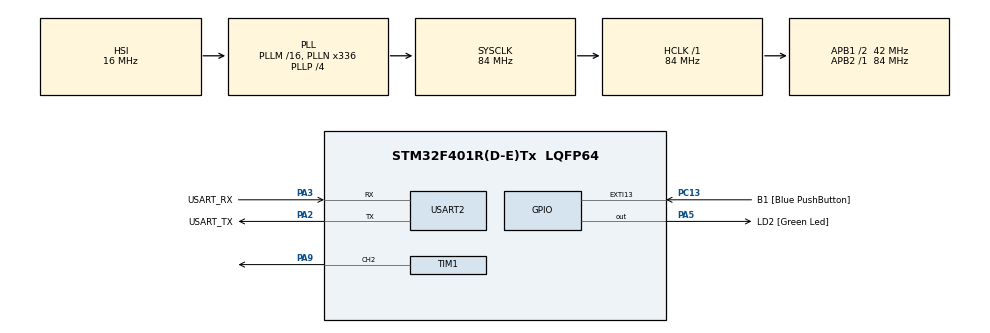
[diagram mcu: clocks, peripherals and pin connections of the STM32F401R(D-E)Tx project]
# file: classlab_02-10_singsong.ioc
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Mcu.Family=STM32F4
Mcu.Name=STM32F401R(D-E)Tx
Mcu.Package=LQFP64
NVIC.PriorityGroup=NVIC_PRIORITYGROUP_0
PA13.GPIO_Label=TMS
PA13.Mode=Serial_Wire
PA13.Signal=SYS_JTMS-SWDIO
PA14.GPIO_Label=TCK
PA14.Mode=Serial_Wire
PA14.Signal=SYS_JTCK-SWCLK
PA2.GPIO_Label=USART_TX
PA2.GPIO_Mode=GPIO_MODE_AF_PP
PA2.GPIO_PuPd=GPIO_NOPULL
PA2.GPIO_Speed=GPIO_SPEED_FREQ_LOW
PA2.Mode=Asynchronous
PA2.Signal=USART2_TX
PA3.GPIO_Label=USART_RX
PA3.GPIO_Mode=GPIO_MODE_AF_PP
PA3.GPIO_PuPd=GPIO_NOPULL
PA3.GPIO_Speed=GPIO_SPEED_FREQ_LOW
PA3.Mode=Asynchronous
PA3.Signal=USART2_RX
PA5.GPIO_Label=LD2 [Green Led]
PA5.GPIO_Mode=GPIO_MODE_OUTPUT_PP
PA5.GPIO_PuPd=GPIO_NOPULL
PA5.GPIO_Speed=GPIO_SPEED_FREQ_LOW
PA5.Signal=GPIO_Output
PA9.Signal=S_TIM1_CH2
PB3.GPIO_Label=SWO
PB3.Signal=SYS_JTDO-SWO
PC13-ANTI_TAMP.GPIO_Label=B1 [Blue PushButton]
PC13-ANTI_TAMP.GPIO_ModeDefaultEXTI=GPIO_MODE_IT_FALLING
PC13-ANTI_TAMP.GPIO_PuPd=GPIO_NOPULL
PC13-ANTI_TAMP.Signal=GPXTI13
PC14-OSC32_IN.Mode=LSE-External-Oscillator
PC14-OSC32_IN.Signal=RCC_OSC32_IN
PC15-OSC32_OUT.Mode=LSE-External-Oscillator
PC15-OSC32_OUT.Signal=RCC_OSC32_OUT
PH0\ -\ OSC_IN.Mode=HSE-External-Clock-Source
PH0\ -\ OSC_IN.Signal=RCC_OSC_IN
PH1\ -\ OSC_OUT.Mode=HSE-External-Clock-Source
PH1\ -\ OSC_OUT.Signal=RCC_OSC_OUT
ProjectManager.HeapSize=0x200
ProjectManager.StackSize=0x400
ProjectManager.TargetToolchain=STM32CubeIDE
RCC.48MHZClocksFreq_Value=48000000
RCC.AHBFreq_Value=84000000
RCC.APB1CLKDivider=RCC_HCLK_DIV2
RCC.APB1Freq_Value=42000000
RCC.APB1TimFreq_Value=84000000
RCC.APB2Freq_Value=84000000
RCC.APB2TimFreq_Value=84000000
RCC.CortexFreq_Value=84000000
RCC.HCLKFreq_Value=84000000
RCC.HSE_VALUE=8000000
RCC.HSI_VALUE=16000000
RCC.PLLN=336
RCC.PLLP=RCC_PLLP_DIV4
RCC.PLLQ=7
RCC.SYSCLKFreq_VALUE=84000000
RCC.SYSCLKSource=RCC_SYSCLKSOURCE_PLLCLK
RCC.VCOOutputFreq_Value=336000000
SH.S_TIM1_CH2.0=TIM1_CH2,PWM Generation2 CH2
TIM1.Channel-PWM\ Generation2\ CH2=TIM_CHANNEL_2
TIM1.Period=1908
TIM1.Prescaler=99
TIM1.Pulse-PWM\ Generation2\ CH2=954
USART2.VirtualMode=VM_ASYNC
VP_TIM1_VS_ClockSourceINT.Mode=Internal
board=NUCLEO-F401RE

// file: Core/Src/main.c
/* USER CODE BEGIN Header */
/**
  ******************************************************************************
  * @file           : main.c
  * @brief          : Main program body
  ******************************************************************************
  * @attention
  *
  * Copyright (c) 2024 STMicroelectronics.
  * All rights reserved.
  *
  * This software is licensed under terms that can be found in the LICENSE file
  * in the root directory of this software component.
  * If no LICENSE file comes with this software, it is provided AS-IS.
  *
  ******************************************************************************
  */
/* USER CODE END Header */
#include "main.h"

/* USER CODE BEGIN PD */
//this is not the homework 3, no use of interrupt!!!
#define DO4 3206  //note name and its period
#define DOD4 3032
#define RE4 2857
#define RED4 2700
#define MI4 2545
#define FA4 2406
#define FAD4 2270
#define SOL4 2142
#define SOLD4 2024
#define LA4 1909
#define LAD4 1802
#define SI4 1700

#define BPM 400

#define PRESCALER 100

#define PAUSE_BETWEEN_NOTES 50
/* USER CODE END PD */

TIM_HandleTypeDef htim1;

UART_HandleTypeDef huart2;

void SystemClock_Config(void);
static void MX_GPIO_Init(void);
static void MX_USART2_UART_Init(void);
static void MX_TIM1_Init(void);

/* USER CODE BEGIN 0 */
typedef struct{
	 int note;
	 int duration;
}NoteStruct;

NoteStruct songNotes[] = {
		{SOL4,3},
		{LA4,1},
		{SOL4,2},
		{FA4,2},
		{MI4,2},
		{FA4,2},
		{SOL4,4},
		{RE4,2},
		{MI4,2},
		{FA4,4},
		{MI4,2},
		{FA4,2},
		{SOL4,2},

		{SOL4,3},
		{LA4,1},
		{SOL4,2},
		{FA4,2},
		{MI4,2},
		{FA4,2},
		{SOL4,4},

		{RE4,4},
		{SOL4,4},
		{MI4,2},
		{DO4,4}

};

static void setupNote(NoteStruct noteStruct)
{

  /* USER CODE BEGIN TIM1_Init 0 */

  /* USER CODE END TIM1_Init 0 */

  TIM_ClockConfigTypeDef sClockSourceConfig = {0};
  TIM_MasterConfigTypeDef sMasterConfig = {0};
  TIM_OC_InitTypeDef sConfigOC = {0};
  TIM_BreakDeadTimeConfigTypeDef sBreakDeadTimeConfig = {0};

  /* USER CODE BEGIN TIM1_Init 1 */

  /* USER CODE END TIM1_Init 1 */ //i directly copy this from bottom of code so i can update prescaler and period with note of my note struct
  htim1.Instance = TIM1;
  htim1.Init.Prescaler = PRESCALER ;
  htim1.Init.CounterMode = TIM_COUNTERMODE_UP;
  htim1.Init.Period = noteStruct.note;
  htim1.Init.ClockDivision = TIM_CLOCKDIVISION_DIV1;
  htim1.Init.RepetitionCounter = 0;
  htim1.Init.AutoReloadPreload = TIM_AUTORELOAD_PRELOAD_DISABLE;
  if (HAL_TIM_Base_Init(&htim1) != HAL_OK)
  {
    Error_Handler();
  }
  sClockSourceConfig.ClockSource = TIM_CLOCKSOURCE_INTERNAL;
  if (HAL_TIM_ConfigClockSource(&htim1, &sClockSourceConfig) != HAL_OK)
  {
    Error_Handler();
  }
  if (HAL_TIM_PWM_Init(&htim1) != HAL_OK)
  {
    Error_Handler();
  }
  sMasterConfig.MasterOutputTrigger = TIM_TRGO_RESET;
  sMasterConfig.MasterSlaveMode = TIM_MASTERSLAVEMODE_DISABLE;
  if (HAL_TIMEx_MasterConfigSynchronization(&htim1, &sMasterConfig) != HAL_OK)
  {
    Error_Handler();
  }
  sConfigOC.OCMode = TIM_OCMODE_PWM1;
  sConfigOC.Pulse = noteStruct.note/2;        //this is to  have duty cycle 50%
  sConfigOC.OCPolarity = TIM_OCPOLARITY_HIGH;
  sConfigOC.OCNPolarity = TIM_OCNPOLARITY_HIGH;
  sConfigOC.OCFastMode = TIM_OCFAST_DISABLE;
  sConfigOC.OCIdleState = TIM_OCIDLESTATE_RESET;
  sConfigOC.OCNIdleState = TIM_OCNIDLESTATE_RESET;
  if (HAL_TIM_PWM_ConfigChannel(&htim1, &sConfigOC, TIM_CHANNEL_2) != HAL_OK)
  {
    Error_Handler();
  }
  sBreakDeadTimeConfig.OffStateRunMode = TIM_OSSR_DISABLE;
  sBreakDeadTimeConfig.OffStateIDLEMode = TIM_OSSI_DISABLE;
  sBreakDeadTimeConfig.LockLevel = TIM_LOCKLEVEL_OFF;
  sBreakDeadTimeConfig.DeadTime = 0;
  sBreakDeadTimeConfig.BreakState = TIM_BREAK_DISABLE;
  sBreakDeadTimeConfig.BreakPolarity = TIM_BREAKPOLARITY_HIGH;
  sBreakDeadTimeConfig.AutomaticOutput = TIM_AUTOMATICOUTPUT_DISABLE;
  if (HAL_TIMEx_ConfigBreakDeadTime(&htim1, &sBreakDeadTimeConfig) != HAL_OK)
  {
    Error_Handler();
  }
  /* USER CODE BEGIN TIM1_Init 2 */

  /* USER CODE END TIM1_Init 2 */
  HAL_TIM_MspPostInit(&htim1);

}

void startSong(){
	int length = sizeof(songNotes)/sizeof(NoteStruct);
	for (int i=0;i<length;i++){
		setupNote(songNotes[i]);

		HAL_TIM_PWM_Start(&htim1,TIM_CHANNEL_2);
		int a = songNotes[i].duration * (60000/2) / BPM;
		HAL_Delay(a);
		HAL_TIM_PWM_Stop(&htim1,TIM_CHANNEL_2);

	}
}
/* USER CODE END 0 */

int main(void)
{

  /* MCU Configuration--------------------------------------------------------*/

  /* Reset of all peripherals, Initializes the Flash interface and the Systick. */
  HAL_Init();

  /* Configure the system clock */
  SystemClock_Config();

  /* Initialize all configured peripherals */
  MX_GPIO_Init();
  MX_USART2_UART_Init();
  MX_TIM1_Init();
  /* USER CODE BEGIN 2 */
  startSong();
  /* USER CODE END 2 */

  /* Infinite loop */
  while (1)
  {

  }
}

void SystemClock_Config(void)
{
  RCC_OscInitTypeDef RCC_OscInitStruct = {0};
  RCC_ClkInitTypeDef RCC_ClkInitStruct = {0};

  /** Configure the main internal regulator output voltage
  */
  __HAL_RCC_PWR_CLK_ENABLE();
  __HAL_PWR_VOLTAGESCALING_CONFIG(PWR_REGULATOR_VOLTAGE_SCALE2);

  /** Initializes the RCC Oscillators according to the specified parameters
  * in the RCC_OscInitTypeDef structure.
  */
  RCC_OscInitStruct.OscillatorType = RCC_OSCILLATORTYPE_HSI;
  RCC_OscInitStruct.HSIState = RCC_HSI_ON;
  RCC_OscInitStruct.HSICalibrationValue = RCC_HSICALIBRATION_DEFAULT;
  RCC_OscInitStruct.PLL.PLLState = RCC_PLL_ON;
  RCC_OscInitStruct.PLL.PLLSource = RCC_PLLSOURCE_HSI;
  RCC_OscInitStruct.PLL.PLLM = 16;
  RCC_OscInitStruct.PLL.PLLN = 336;
  RCC_OscInitStruct.PLL.PLLP = RCC_PLLP_DIV4;
  RCC_OscInitStruct.PLL.PLLQ = 7;
  if (HAL_RCC_OscConfig(&RCC_OscInitStruct) != HAL_OK)
  {
    Error_Handler();
  }

  /** Initializes the CPU, AHB and APB buses clocks
  */
  RCC_ClkInitStruct.ClockType = RCC_CLOCKTYPE_HCLK|RCC_CLOCKTYPE_SYSCLK
                              |RCC_CLOCKTYPE_PCLK1|RCC_CLOCKTYPE_PCLK2;
  RCC_ClkInitStruct.SYSCLKSource = RCC_SYSCLKSOURCE_PLLCLK;
  RCC_ClkInitStruct.AHBCLKDivider = RCC_SYSCLK_DIV1;
  RCC_ClkInitStruct.APB1CLKDivider = RCC_HCLK_DIV2;
  RCC_ClkInitStruct.APB2CLKDivider = RCC_HCLK_DIV1;

  if (HAL_RCC_ClockConfig(&RCC_ClkInitStruct, FLASH_LATENCY_2) != HAL_OK)
  {
    Error_Handler();
  }
}

static void MX_TIM1_Init(void)
{

  TIM_ClockConfigTypeDef sClockSourceConfig = {0};
  TIM_MasterConfigTypeDef sMasterConfig = {0};
  TIM_OC_InitTypeDef sConfigOC = {0};
  TIM_BreakDeadTimeConfigTypeDef sBreakDeadTimeConfig = {0};

  htim1.Instance = TIM1;
  htim1.Init.Prescaler = 99;
  htim1.Init.CounterMode = TIM_COUNTERMODE_UP;
  htim1.Init.Period = 1908;
  htim1.Init.ClockDivision = TIM_CLOCKDIVISION_DIV1;
  htim1.Init.RepetitionCounter = 0;
  htim1.Init.AutoReloadPreload = TIM_AUTORELOAD_PRELOAD_DISABLE;
  if (HAL_TIM_Base_Init(&htim1) != HAL_OK)
  {
    Error_Handler();
  }
  sClockSourceConfig.ClockSource = TIM_CLOCKSOURCE_INTERNAL;
  if (HAL_TIM_ConfigClockSource(&htim1, &sClockSourceConfig) != HAL_OK)
  {
    Error_Handler();
  }
  if (HAL_TIM_PWM_Init(&htim1) != HAL_OK)
  {
    Error_Handler();
  }
  sMasterConfig.MasterOutputTrigger = TIM_TRGO_RESET;
  sMasterConfig.MasterSlaveMode = TIM_MASTERSLAVEMODE_DISABLE;
  if (HAL_TIMEx_MasterConfigSynchronization(&htim1, &sMasterConfig) != HAL_OK)
  {
    Error_Handler();
  }
  sConfigOC.OCMode = TIM_OCMODE_PWM1;
  sConfigOC.Pulse = 954;
  sConfigOC.OCPolarity = TIM_OCPOLARITY_HIGH;
  sConfigOC.OCNPolarity = TIM_OCNPOLARITY_HIGH;
  sConfigOC.OCFastMode = TIM_OCFAST_DISABLE;
  sConfigOC.OCIdleState = TIM_OCIDLESTATE_RESET;
  sConfigOC.OCNIdleState = TIM_OCNIDLESTATE_RESET;
  if (HAL_TIM_PWM_ConfigChannel(&htim1, &sConfigOC, TIM_CHANNEL_2) != HAL_OK)
  {
    Error_Handler();
  }
  sBreakDeadTimeConfig.OffStateRunMode = TIM_OSSR_DISABLE;
  sBreakDeadTimeConfig.OffStateIDLEMode = TIM_OSSI_DISABLE;
  sBreakDeadTimeConfig.LockLevel = TIM_LOCKLEVEL_OFF;
  sBreakDeadTimeConfig.DeadTime = 0;
  sBreakDeadTimeConfig.BreakState = TIM_BREAK_DISABLE;
  sBreakDeadTimeConfig.BreakPolarity = TIM_BREAKPOLARITY_HIGH;
  sBreakDeadTimeConfig.AutomaticOutput = TIM_AUTOMATICOUTPUT_DISABLE;
  if (HAL_TIMEx_ConfigBreakDeadTime(&htim1, &sBreakDeadTimeConfig) != HAL_OK)
  {
    Error_Handler();
  }
  HAL_TIM_MspPostInit(&htim1);

}

static void MX_USART2_UART_Init(void)
{

  huart2.Instance = USART2;
  huart2.Init.BaudRate = 115200;
  huart2.Init.WordLength = UART_WORDLENGTH_8B;
  huart2.Init.StopBits = UART_STOPBITS_1;
  huart2.Init.Parity = UART_PARITY_NONE;
  huart2.Init.Mode = UART_MODE_TX_RX;
  huart2.Init.HwFlowCtl = UART_HWCONTROL_NONE;
  huart2.Init.OverSampling = UART_OVERSAMPLING_16;
  if (HAL_UART_Init(&huart2) != HAL_OK)
  {
    Error_Handler();
  }

}

static void MX_GPIO_Init(void)
{
  GPIO_InitTypeDef GPIO_InitStruct = {0};

  /* GPIO Ports Clock Enable */
  __HAL_RCC_GPIOC_CLK_ENABLE();
  __HAL_RCC_GPIOH_CLK_ENABLE();
  __HAL_RCC_GPIOA_CLK_ENABLE();
  __HAL_RCC_GPIOB_CLK_ENABLE();

  /*Configure GPIO pin Output Level */
  HAL_GPIO_WritePin(LD2_GPIO_Port, LD2_Pin, GPIO_PIN_RESET);

  /*Configure GPIO pin : B1_Pin */
  GPIO_InitStruct.Pin = B1_Pin;
  GPIO_InitStruct.Mode = GPIO_MODE_IT_FALLING;
  GPIO_InitStruct.Pull = GPIO_NOPULL;
  HAL_GPIO_Init(B1_GPIO_Port, &GPIO_InitStruct);

  /*Configure GPIO pin : LD2_Pin */
  GPIO_InitStruct.Pin = LD2_Pin;
  GPIO_InitStruct.Mode = GPIO_MODE_OUTPUT_PP;
  GPIO_InitStruct.Pull = GPIO_NOPULL;
  GPIO_InitStruct.Speed = GPIO_SPEED_FREQ_LOW;
  HAL_GPIO_Init(LD2_GPIO_Port, &GPIO_InitStruct);

}

void Error_Handler(void)
{
  __disable_irq();
  while (1)
  {
  }
}
